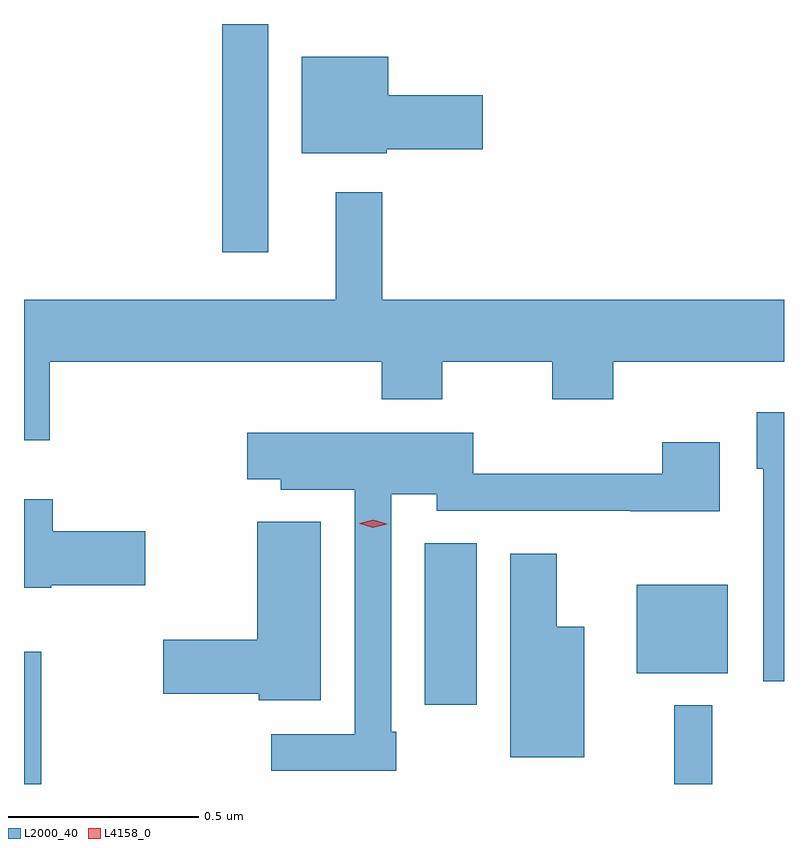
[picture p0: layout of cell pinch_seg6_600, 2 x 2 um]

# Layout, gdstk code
import gdstk
lib = gdstk.Library(unit=1e-6, precision=1e-09)
def R(c, l, rs):  # rectangles x0, y0, x1, y1
    for r in rs: c.add(gdstk.rectangle(r[:2], r[2:], *l))
def P(c, l, *ps):  # polygons
    for p in ps: c.add(gdstk.Polygon(p, *l))
L2000_40 = (2000, 40)
L4158_0 = (4158, 0)

pinch_seg6_600 = lib.new_cell('pinch_seg6_600')
R(pinch_seg6_600, L2000_40, [(586.992,964.873,587.038,965.221), (588.703,964.873,588.803,965.08), (588.047,965.082,588.184,965.507), (588.605,965.165,588.844,965.398), (587.514,966.273,587.635,966.873), (587.813,966.872,587.935,966.873)])
P(pinch_seg6_600, L2000_40, [(587.946,966.544),(588.199,966.544),(588.199,966.686),(587.95,966.686),(587.95,966.787),(587.723,966.787),(587.723,966.533),(587.946,966.533)],
  [(587.06,965.984),(587.933,965.984),(587.933,965.885),(588.093,965.885),(588.093,965.984),(588.382,965.984),(588.382,965.885),(588.542,965.885),(588.542,965.984),(588.992,965.984),(588.992,966.148),(587.935,966.148),(587.935,966.43),(587.813,966.43),(587.813,966.148),(586.992,966.148),(586.992,965.778),(587.06,965.778)],
  [(588.992,965.851),(588.92,965.851),(588.92,965.703),(588.938,965.703),(588.938,965.144),(588.992,965.144)],
  [(587.971,965.011),(587.958,965.011),(587.958,965.636),(588.078,965.636),(588.078,965.592),(588.587,965.592),(588.587,965.591),(588.823,965.591),(588.823,965.773),(588.671,965.773),(588.671,965.69),(588.174,965.69),(588.174,965.797),(587.58,965.797),(587.58,965.675),(587.667,965.675),(587.667,965.648),(587.862,965.648),(587.862,965.004),(587.643,965.004),(587.643,964.908),(587.971,964.908)],
  [(587.064,965.396),(587.311,965.396),(587.311,965.538),(587.068,965.538),(587.068,965.623),(586.992,965.623),(586.992,965.39),(587.064,965.39)],
  [(587.773,965.563),(587.606,965.563),(587.606,965.252),(587.358,965.252),(587.358,965.11),(587.61,965.11),(587.61,965.093),(587.773,965.093)],
  [(588.466,965.287),(588.394,965.287),(588.394,965.479),(588.272,965.479),(588.272,964.943),(588.466,964.943)])
P(pinch_seg6_600, L4158_0, [(587.91,965.548),(587.876,965.558),(587.875,965.559),(587.876,965.559),(587.911,965.568),(587.946,965.558),(587.946,965.557),(587.946,965.557)])

lib.write_gds('pinch_seg6_600.gds')
